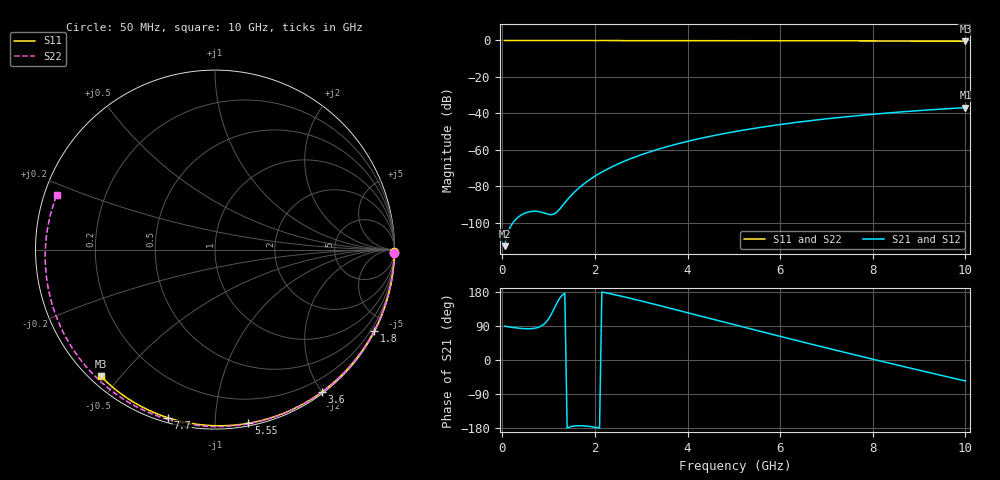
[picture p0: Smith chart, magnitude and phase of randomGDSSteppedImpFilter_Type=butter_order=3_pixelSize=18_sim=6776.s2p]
! freq	dB(S11)	phase(S11)	dB(S12)	phase(S12)
!  dB(S21)	phase(S21)	dB(S22)	phase(S22)
!S-par simulation data
#  GHz  S  DB  R 50
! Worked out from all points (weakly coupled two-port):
!   200 points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, 50 MHz to 10 GHz, reference 50 ohm
!   highest |S21| = -36.90 dB at 10 GHz (marker M1); lowest = -113.0 dB at 50 MHz (marker M2)
!   lowest |S11| = -0.4 dB at 10 GHz (marker M3), VSWR 38.80, Z = 1.54 - j22.2 ohm
!   |S11| at or under -10 dB: nowhere
!   |S22| runs from -0.6 to 0.0 dB; largest |S21 - S12| = 0
!   S11 on the Smith chart (normalised r, x): 50 MHz: open; 1.8 GHz: 0.04, -4.15; 3.6 GHz: 0.02, -2.01; 5.55 GHz: 0.02, -1.21; 7.7 GHz: 0.02, -0.76; 10 GHz: 0.03, -0.44
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0.05  -0.00 -0.8  -112.99 89.2  -112.99 89.2  -0.00 -1.2
0.45  -0.01 -6.8  -95.31 82.9  -95.31 82.9  -0.01 -10.3
0.85  -0.02 -12.9  -94.33 90.3  -94.33 90.3  -0.02 -19.5
1.25  -0.02 -18.9  -92.29 164.6  -92.29 164.6  -0.04 -28.5
1.7  -0.03 -25.6  -80.05 -173.5  -80.05 -173.5  -0.05 -38.5
1.75  -0.03 -26.3  -79.02 -173.7  -79.02 -173.7  -0.05 -39.6
1.8  -0.03 -27.1  -78.04 -174.2  -78.04 -174.2  -0.05 -40.7
2.1  -0.04 -31.5  -73.02 -179.5  -73.02 -179.5  -0.06 -47.2
2.5  -0.05 -37.3  -67.82 170.3  -67.82 170.3  -0.07 -55.8
2.9  -0.06 -43.1  -63.69 158.8  -63.69 158.8  -0.08 -64.2
3.4  -0.07 -50.2  -59.49 143.5  -59.49 143.5  -0.10 -74.5
3.6  -0.07 -53.0  -58.03 137.3  -58.03 137.3  -0.10 -78.6
4.3  -0.09 -62.6  -53.67 115.4  -53.67 115.4  -0.13 -92.4
5.05  -0.11 -72.6  -49.94 91.8  -49.94 91.8  -0.16 -106.7
5.55  -0.13 -79.1  -47.85 76.3  -47.85 76.3  -0.19 -116.0
6.1  -0.15 -86.1  -45.83 59.3  -45.83 59.3  -0.22 -126.1
6.7  -0.18 -93.5  -43.91 41.0  -43.91 41.0  -0.26 -136.9
7.2  -0.21 -99.6  -42.50 25.9  -42.50 25.9  -0.30 -145.9
7.7  -0.24 -105.6  -41.23 11.0  -41.23 11.0  -0.35 -155.0
8.35  -0.29 -113.2  -39.78 -8.1  -39.78 -8.1  -0.41 -166.9
9.2  -0.36 -123.0  -38.16 -32.7  -38.16 -32.7  -0.51 177.1
10  -0.45 -132.1  -36.90 -55.3  -36.90 -55.3  -0.61 161.1
